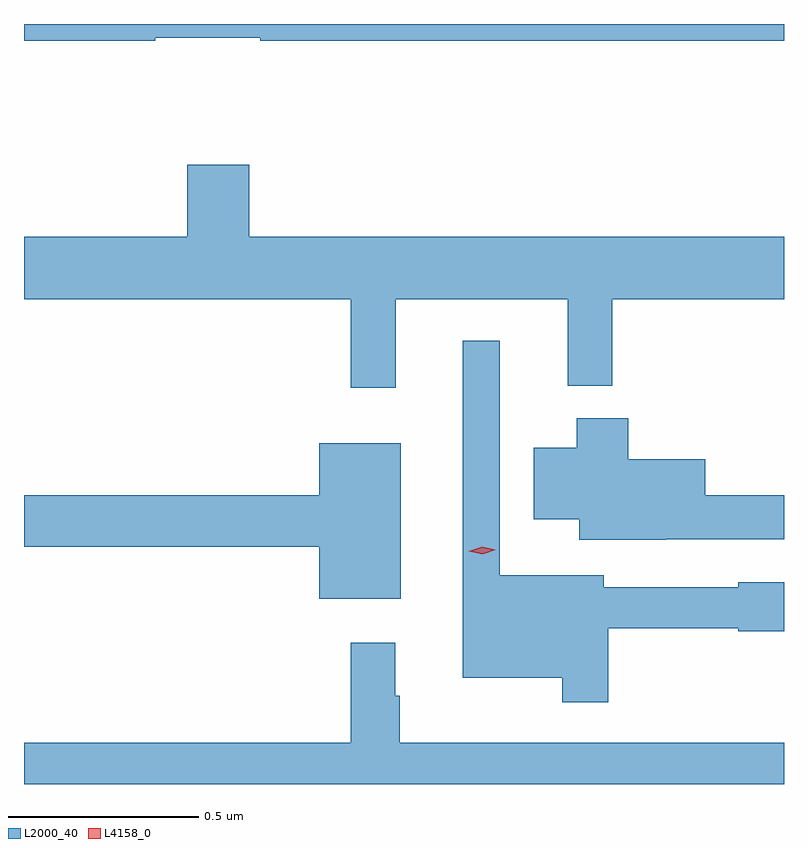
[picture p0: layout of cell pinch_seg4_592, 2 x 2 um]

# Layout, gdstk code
import gdstk
lib = gdstk.Library(unit=1e-6, precision=1e-09)
def P(c, l, *ps):  # polygons
    for p in ps: c.add(gdstk.Polygon(p, *l))
L2000_40 = (2000, 40)
L4158_0 = (4158, 0)

pinch_seg4_592 = lib.new_cell('pinch_seg4_592')
P(pinch_seg4_592, L2000_40, [(1064.024,790.848),(1064.301,790.848),(1064.301,790.84),(1065.679,790.84),(1065.679,790.884),(1063.679,790.884),(1063.679,790.84),(1064.024,790.84)],
  [(1064.657,790.16),(1065.11,790.16),(1065.11,789.932),(1065.227,789.932),(1065.227,790.16),(1065.679,790.16),(1065.679,790.324),(1064.272,790.324),(1064.272,790.513),(1064.108,790.513),(1064.108,790.324),(1063.679,790.324),(1063.679,790.16),(1064.539,790.16),(1064.539,789.927),(1064.657,789.927)],
  [(1065.217,789.294),(1065.558,789.294),(1065.558,789.286),(1065.679,789.286),(1065.679,789.415),(1065.558,789.415),(1065.558,789.402),(1065.205,789.402),(1065.205,789.433),(1064.931,789.433),(1064.931,790.051),(1064.834,790.051),(1064.834,789.164),(1065.096,789.164),(1065.096,789.099),(1065.217,789.099)],
  [(1065.368,789.528),(1065.679,789.528),(1065.679,789.644),(1065.472,789.644),(1065.472,789.739),(1065.269,789.739),(1065.269,789.847),(1065.134,789.847),(1065.134,789.769),(1065.02,789.769),(1065.02,789.581),(1065.14,789.581),(1065.14,789.527),(1065.368,789.527)],
  [(1064.671,789.781),(1064.456,789.781),(1064.456,789.644),(1063.679,789.644),(1063.679,789.508),(1064.456,789.508),(1064.456,789.371),(1064.671,789.371)],
  [(1065.679,788.992),(1064.668,788.992),(1064.668,789.116),(1064.656,789.116),(1064.656,789.256),(1064.539,789.256),(1064.539,788.992),(1063.679,788.992),(1063.679,788.884),(1065.679,788.884)])
P(pinch_seg4_592, L4158_0, [(1064.886,789.489),(1064.85,789.497),(1064.85,789.497),(1064.85,789.497),(1064.885,789.509),(1064.92,789.501),(1064.921,789.501),(1064.92,789.5)])

lib.write_gds('pinch_seg4_592.gds')
